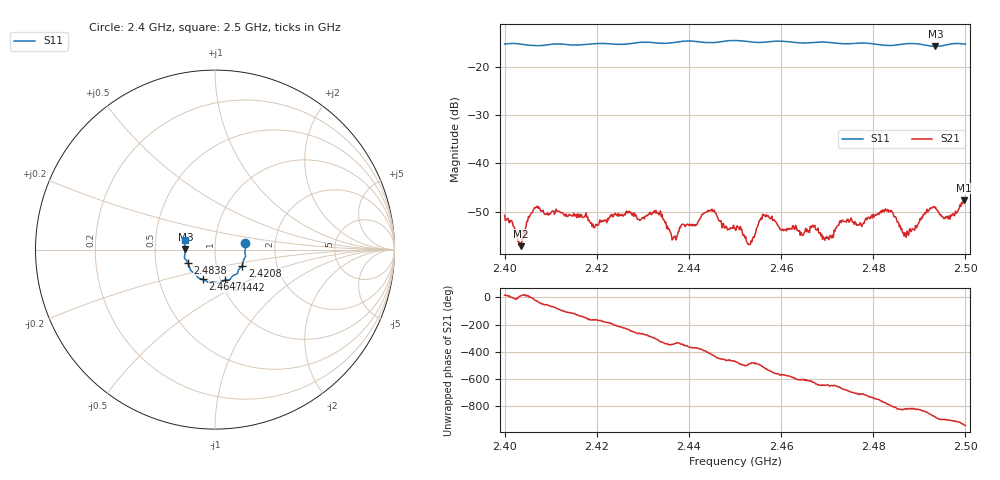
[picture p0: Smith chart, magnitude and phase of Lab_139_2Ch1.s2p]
# Hz S RI R
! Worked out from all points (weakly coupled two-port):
!   601 points, 2.4 GHz to 2.5 GHz, reference 50 ohm
!   highest |S21| = -47.62 dB at 2.4997 GHz (marker M1); lowest = -57.2 dB at 2.4035 GHz (marker M2)
!   lowest |S11| = -15.7 dB at 2.4935 GHz (marker M3), VSWR 1.39, Z = 35.9 + j0.129 ohm
!   |S11| at or under -10 dB: start of sweep to end of sweep
!   S12 and S22 are empty: the file has one direction only
!   S11 on the Smith chart (normalised r, x): 2.4 GHz: 1.40, +0.11; 2.4208 GHz: 1.33, -0.25; 2.4442 GHz: 1.06, -0.37; 2.4647 GHz: 0.83, -0.28; 2.4838 GHz: 0.73, -0.11; 2.5 GHz: 0.71, +0.08
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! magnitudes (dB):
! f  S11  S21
! 2.4 GHz  -15.2  -50.8
! 2.4035 GHz  -15.2  -57.2
! 2.4067 GHz  -15.5  -49.2
! 2.4167 GHz  -15.3  -50.6
! 2.4208 GHz  -15.1  -52.2
! 2.4333 GHz  -15.0  -50.3
! 2.4368 GHz  -14.9  -55.3
! 2.4442 GHz  -14.9  -49.7
! 2.45 GHz  -14.4  -53.5
! 2.4532 GHz  -14.7  -56.9
! 2.4565 GHz  -14.8  -50.7
! 2.4647 GHz  -15.0  -55.0
! 2.4667 GHz  -14.9  -53.2
! 2.47 GHz  -14.8  -55.6
! 2.4732 GHz  -15.1  -51.9
! 2.4833 GHz  -15.5  -50.1
! 2.4838 GHz  -15.5  -49.7
! 2.4872 GHz  -15.1  -55.3
! 2.4935 GHz  -15.7  -49.1
! 2.4962 GHz  -15.3  -51.3
! 2.4997 GHz  -15.2  -47.6
! 2.5 GHz  -15.2  -47.7
